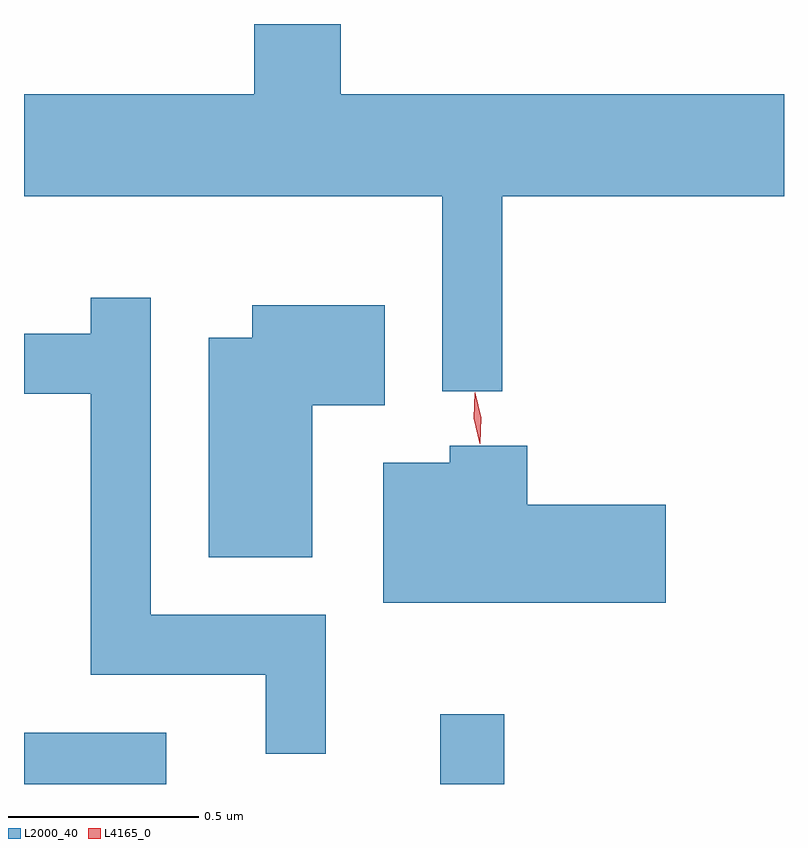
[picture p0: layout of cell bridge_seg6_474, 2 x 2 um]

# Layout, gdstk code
import gdstk
lib = gdstk.Library(unit=1e-6, precision=1e-09)
def R(c, l, rs):  # rectangles x0, y0, x1, y1
    for r in rs: c.add(gdstk.rectangle(r[:2], r[2:], *l))
def P(c, l, *ps):  # polygons
    for p in ps: c.add(gdstk.Polygon(p, *l))
L2000_40 = (2000, 40)
L4165_0 = (4165, 0)

bridge_seg6_474 = lib.new_cell('bridge_seg6_474')
R(bridge_seg6_474, L2000_40, [(641.525,1621.749,641.899,1621.884), (642.621,1621.749,642.789,1621.933)])
P(bridge_seg6_474, L2000_40, [(642.784,1623.296),(643.525,1623.296),(643.525,1623.564),(642.359,1623.564),(642.359,1623.749),(642.131,1623.749),(642.131,1623.564),(641.525,1623.564),(641.525,1623.296),(642.626,1623.296),(642.626,1622.783),(642.784,1622.783)],
  [(642.319,1622.194),(641.859,1622.194),(641.859,1623.028),(641.701,1623.028),(641.701,1622.934),(641.525,1622.934),(641.525,1622.776),(641.701,1622.776),(641.701,1622.036),(642.161,1622.036),(642.161,1621.828),(642.319,1621.828)],
  [(642.284,1622.746),(642.474,1622.746),(642.474,1623.009),(642.126,1623.009),(642.126,1622.924),(642.011,1622.924),(642.011,1622.346),(642.284,1622.346)],
  [(643.214,1622.484),(642.849,1622.484),(642.849,1622.639),(642.646,1622.639),(642.646,1622.594),(642.471,1622.594),(642.471,1622.226),(643.214,1622.226)])
P(bridge_seg6_474, L4165_0, [(642.725,1622.644),(642.724,1622.645),(642.708,1622.711),(642.711,1622.779),(642.712,1622.78),(642.712,1622.779),(642.728,1622.713),(642.725,1622.645)])

lib.write_gds('bridge_seg6_474.gds')
